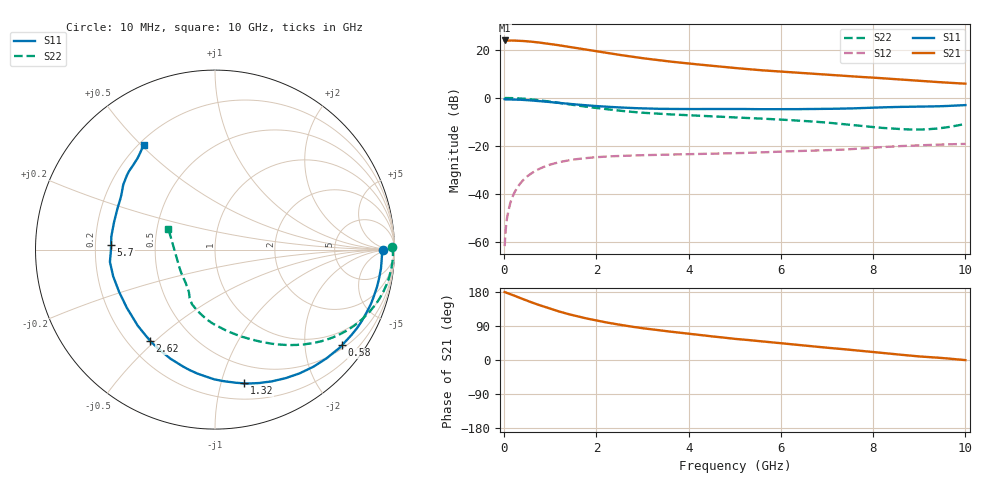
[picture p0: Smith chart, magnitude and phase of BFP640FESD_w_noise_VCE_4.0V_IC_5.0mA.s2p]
! Infineon Technologies  Discrete & RF Semiconductors
! BFP640FESD
! VCE =  4.0 V,  IC =  5.0 mA
! Common Emitter S-Parameters:  Jan 2016
# GHz  S  MA  R  50
!  f  S11  S21  S12  S22
! GHz  MAG  ANG  MAG  ANG  MAG  ANG  MAG  ANG
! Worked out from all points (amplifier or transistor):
!   233 points, 10 MHz to 10 GHz, reference 50 ohm
!   highest |S21| = 24.0 dB at 10 MHz (marker M1)
!   |S21| within 3 dB of that: start of sweep to 1.508 GHz
!   unconditionally stable (mu >= 1): start of sweep to 11.66 MHz; 5.869 GHz to end of sweep
!   at 200 MHz: K = 0.08, MSG = 32.2 dB, |S12| = -40.4 dB
!   at 1.74 GHz: K = 0.29, MSG = 22.7 dB, |S12| = -25.2 dB
!   at 10 GHz: K = 1.21, MAG = 9.8 dB, |S12| = -19.2 dB
!   lowest NFmin = 0.54 dB at 450 MHz
!   S11 on the Smith chart (normalised r, x): 10 MHz: 32, +0; 580 MHz: 0.58, -2.88; 1.32 GHz: 0.33, -1.19; 2.62 GHz: 0.29, -0.48; 5.7 GHz: 0.27, +0.02; 10 GHz: 0.22, +0.51
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0.01  0.9385 0.0  15.81 179.2  0.0008 -12.6  0.9868 0.7
0.045  0.9306 -3.1  15.68 177.7  0.0024 70.1  0.9918 -1.6
0.085  0.9304 -5.5  15.73 176.1  0.0041 77.5  0.9914 -3.2
0.2  0.9263 -13.0  15.76 170.7  0.0095 79.0  0.9855 -7.6
0.3  0.9198 -19.4  15.64 165.9  0.0141 76.8  0.9762 -11.4
0.58  0.8857 -37.0  14.94 152.7  0.0261 68.4  0.9307 -21.4
0.7  0.8678 -44.3  14.57 147.5  0.0307 64.9  0.906 -25.5
0.92  0.8309 -56.8  13.67 138.3  0.0381 58.6  0.8537 -32.5
1.1  0.8 -66.5  12.93 131.4  0.0431 54.0  0.8091 -37.8
1.32  0.7631 -77.6  11.98 123.6  0.0482 49.0  0.7542 -43.7
1.68  0.711 -93.5  10.52 112.5  0.054 42.2  0.6733 -52.1
1.92  0.683 -102.8  9.649 106.2  0.0569 38.9  0.6281 -57.2
2.2  0.6563 -112.3  8.739 99.5  0.0593 35.5  0.5831 -62.4
2.62  0.6236 -125.4  7.602 90.8  0.062 31.6  0.5265 -69.9
3  0.604 -135.5  6.747 83.9  0.0635 29.1  0.4895 -75.8
3.4  0.5898 -144.3  6.033 77.9  0.0645 27.7  0.4633 -80.5
4.1  0.5832 -158.0  5.101 68.0  0.0669 26.7  0.4288 -87.6
5.1  0.587 -174.5  4.124 54.8  0.0703 25.9  0.3856 -98.1
5.7  0.5795 177.4  3.702 47.9  0.0735 26.8  0.3641 -103.3
6.8  0.5856 160.3  3.134 34.8  0.0795 26.4  0.3146 -115.6
8.4  0.6419 139.9  2.49 16.2  0.0963 26.6  0.2291 -144.7
10  0.7062 124.2  1.979 -0.3  0.1093 20.3  0.2849 156.1
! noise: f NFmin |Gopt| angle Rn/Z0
0.45  0.54  0.48  8  0.13
2.4  0.7  0.27  57  0.12
5.5  0.99  0.39  149  0.08
10  1.84  0.51  -122  0.24
